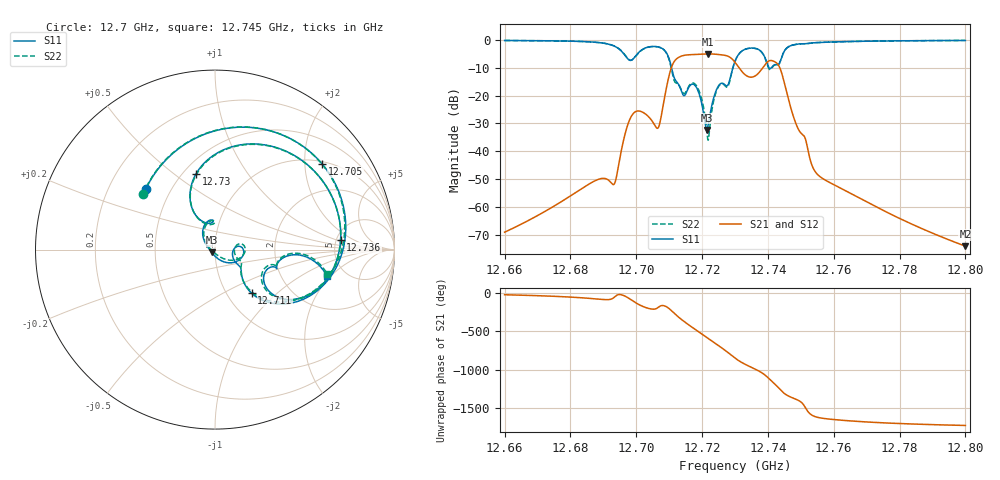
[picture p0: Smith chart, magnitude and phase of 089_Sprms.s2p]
! TOUCHSTONE file generated by CST MICROWAVE STUDIO
! Date and time: Wed Jul 31 15:13:41 2024
! Project name: WaveGuide_BPF-Ver4.1_U-shape_Ku_T3_C4_CWA_2.cst
! Parameters = {cavity_h=16; cavity_l0=10; cavity_l1=15.2036; cavity_l2=16.8842; cavity_l3=17.1451; cavity_l4=17.273; cavity_l5=17.1392; cavity_l6=17.5838; cavity_r=2.5; cavity_screw_l=0.5; cavity_screw_r=1.5; cavity_w=8; iris_h00=0; iris_h01=8.8145; iris_h112=0; iris_h12=5.5901; iris_h211=3.6514; i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
! Header version: 2018
! Port assignment regex: !\s*Touchstone port\s*([0-9]+)\s*=\s*(CST MWS port|CST DS port)\s*([0-9]+|Zmin|Zmax)\s*\(\"(.*)\"\)(\s*mode\s*([0-9]+))?.*
! Touchstone port assignment:
! Touchstone port 1 = CST MWS port 1 ("")
! Touchstone port 2 = CST MWS port 2 ("")
# GHz S RI R 50
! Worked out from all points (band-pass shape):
!   5001 points, 12.66 GHz to 12.8 GHz, reference 50 ohm
!   highest |S21| = -5.00 dB at 12.722 GHz (marker M1); lowest = -74.2 dB at 12.8 GHz (marker M2)
!   |S21| within 3 dB of the highest: 12.7114 GHz to 12.72998 GHz (18.58 MHz wide, 0.146 % of centre); 12.73975 GHz to 12.74231 GHz (2.567 MHz wide, 0.0201 % of centre)
!   lowest |S11| = -32.4 dB at 12.721 GHz (marker M3), VSWR 1.05, Z = 48.1 - j1.42 ohm
!   |S11| at or under -10 dB: 12.71072 GHz to 12.72934 GHz (18.62 MHz wide, 0.146 % of centre); 12.74034 GHz to 12.74106 GHz (720.3 kHz wide, 0.00565 % of centre)
!   |S22| runs from -36.1 to -0.2 dB; largest |S21 - S12| = 1e-09
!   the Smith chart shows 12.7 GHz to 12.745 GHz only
!   S11 on the Smith chart (normalised r, x): 12.7 GHz: 0.36, +0.33; 12.705 GHz: 1.06, +2.44; 12.711 GHz: 1.30, -0.70; 12.73 GHz: 0.58, +0.60; 12.736 GHz: 5.45, +1.18; 12.745 GHz: 3.62, -1.81
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12.66  0.3299 0.9227  0.000318 -0.000142  0.000318 -0.000142  0.3301 0.9227
12.68335  0.7898 0.5108  0.000943 -0.00188  0.000943 -0.00188  0.7879 0.5148
12.69318  0.7213 -0.304  0.00122 -0.0022  0.00122 -0.0022  0.7301 -0.2928
12.69578  0.2351 -0.5566  0.0112 -0.00597  0.0112 -0.00597  0.2582 -0.5553
12.69976  -0.3862 0.3355  -0.0302 -0.0415  -0.0302 -0.0415  -0.4008 0.3081
12.70494  0.5965 0.4778  -0.029 0.0176  -0.029 0.0176  0.5827 0.4915
12.70668  0.7232 0.1983  -0.0261 0.00376  -0.0261 0.00376  0.7165 0.2128
12.71071  0.205 -0.2437  -0.1998 0.2544  -0.1998 0.2544  0.1914 -0.2236
12.71415  0.0983 -0.0359  0.5227 0.00863  0.5227 0.00863  0.1101 -0.0228
12.71718  0.1594 -0.0213  -0.0265 -0.546  -0.0265 -0.546  0.1686 0.000232
12.72143  -0.0191 -0.0147  -0.4377 0.3532  -0.4377 0.3532  0.00262 -0.0229
12.72168  -0.0254 -0.0066  -0.388 0.4072  -0.388 0.4072  -0.00585 -0.0159
12.72597  -0.0263 0.1646  0.5377 0.0523  0.5377 0.0523  -0.017 0.162
12.73  -0.1177 0.3981  -0.238 -0.3173  -0.238 -0.3173  -0.1162 0.3945
12.73014  -0.1055 0.4221  -0.2552 -0.2908  -0.2552 -0.2908  -0.104 0.4188
12.73633  0.6999 0.0547  0.0177 0.2288  0.0177 0.2288  0.6994 0.0482
12.73969  0.3091 -0.2395  0.3913 -0.0549  0.3913 -0.0549  0.2964 -0.238
12.74159  0.3306 -0.0965  0.0464 -0.4161  0.0464 -0.4161  0.3261 -0.0843
12.74506  0.6243 -0.1469  -0.1067 0.1222  -0.1067 0.1222  0.6262 -0.1369
12.75335  0.041 -0.8841  -0.00478 -0.00298  -0.00478 -0.00298  0.049 -0.8832
12.77668  -0.9315 -0.2416  -0.000246 0.000727  -0.000246 0.000727  -0.9315 -0.2411
12.8  -0.9472 0.2556  4.11e-05 0.000191  4.11e-05 0.000191  -0.9463 0.2586
